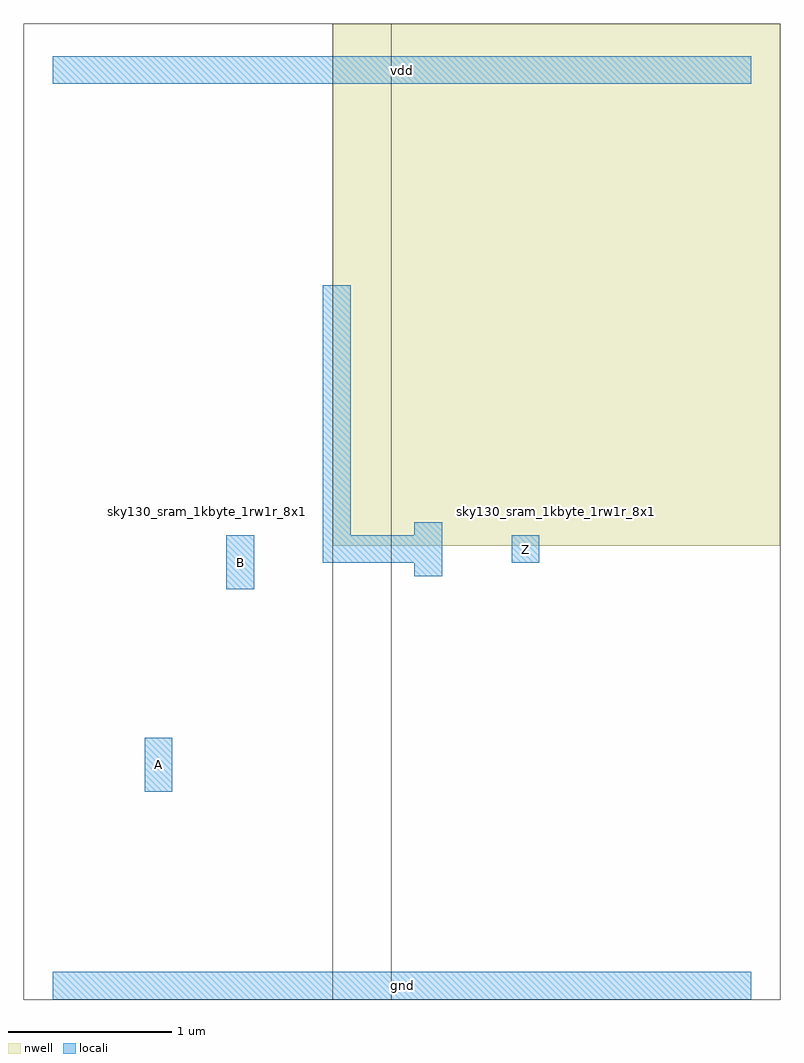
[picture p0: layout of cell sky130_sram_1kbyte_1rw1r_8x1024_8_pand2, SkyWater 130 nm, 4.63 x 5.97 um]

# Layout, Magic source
magic
tech sky130A
magscale 1 2
<< locali >>
rect 0 1103 854 1137
rect 330 551 364 857
rect 212 485 246 551
rect 330 517 459 551
rect 561 517 595 551
rect 112 237 146 303
rect 0 -17 854 17
use sky130_sram_1kbyte_1rw1r_8x1024_8_pdriver  sky130_sram_1kbyte_1rw1r_8x1024_8_pdriver_0
transform 1 0 378 0 1 0
box -36 -17 512 1177
use sky130_sram_1kbyte_1rw1r_8x1024_8_pnand2  sky130_sram_1kbyte_1rw1r_8x1024_8_pnand2_0
transform 1 0 0 0 1 0
box -36 -17 414 1177
<< labels >>
rlabel locali s 578 534 578 534 4 Z
rlabel locali s 129 270 129 270 4 A
rlabel locali s 229 518 229 518 4 B
rlabel locali s 427 0 427 0 4 gnd
rlabel locali s 427 1120 427 1120 4 vdd
<< properties >>
string FIXED_BBOX 0 0 854 1120
string GDS_END 192604
string GDS_FILE $PDKPATH/libs.ref/sky130_sram_macros/gds/sky130_sram_1kbyte_1rw1r_8x1024_8.gds
string GDS_START 191466
<< end >>

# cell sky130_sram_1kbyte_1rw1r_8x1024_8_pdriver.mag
magic
tech sky130A
magscale 1 2
<< nwell >>
rect -36 538 512 1177
<< locali >>
rect 0 1103 476 1137
rect 64 501 98 567
rect 183 517 217 551
rect 0 -17 476 17
use sky130_sram_1kbyte_1rw1r_8x1024_8_pinv  sky130_sram_1kbyte_1rw1r_8x1024_8_pinv_0
transform 1 0 0 0 1 0
box -36 -17 512 1177
<< labels >>
rlabel locali s 200 534 200 534 4 Z
rlabel locali s 81 534 81 534 4 A
rlabel locali s 238 0 238 0 4 gnd
rlabel locali s 238 1120 238 1120 4 vdd
<< properties >>
string FIXED_BBOX 0 0 476 1120
string GDS_END 53600
string GDS_FILE $PDKPATH/libs.ref/sky130_sram_macros/gds/sky130_sram_1kbyte_1rw1r_8x1024_8.gds
string GDS_START 52772
<< end >>
